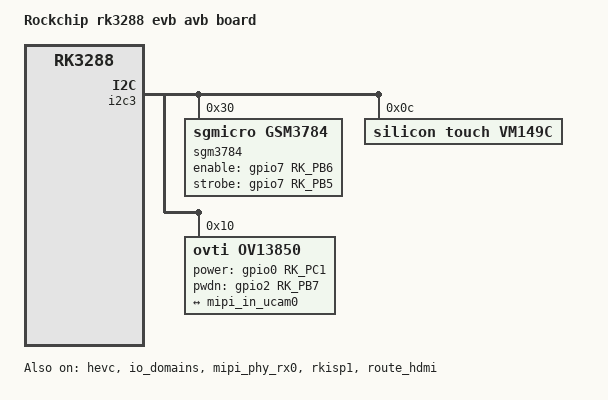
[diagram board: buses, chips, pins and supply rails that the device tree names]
/*
 * Copyright (c) 2018 Fuzhou Rockchip Electronics Co., Ltd
 *
 * SPDX-License-Identifier: (GPL-2.0+ OR MIT)
 */

/dts-v1/;
#include "rk3288-evb-android-rk808-edp.dtsi"

/ {
	model = "Rockchip rk3288 evb avb board";
	compatible = "rockchip,rk3288-evb-android-rk808-edp", "rockchip,rk3288";
	chosen: chosen {
		bootargs = "earlycon=uart8250,mmio32,0xff690000 vmalloc=496M console=ttyFIQ0 androidboot.baseband=N/A androidboot.veritymode=enforcing androidboot.hardware=rk30board androidboot.console=ttyFIQ0 init=/init kpti=0";
	};
};

&hevc {
	status = "okay";
	clock-names = "aclk_vcodec", "hclk_vcodec", "clk_core", "clk_cabac";
	rockchip,normal-rates = <300000000>, <0>, <200000000>, <200000000>;
	rockchip,advanced-rates = <600000000>, <0>, <500000000>, <500000000>;
};

&io_domains {
	status = "okay";

	dvp-supply = <&vcc_18>;
};

&isp_mmu {
	status = "okay";
};

&i2c3 {
	status = "okay";

	sgm3784: sgm3784@30 {
		#address-cells = <1>;
		#size-cells = <0>;
		compatible = "sgmicro,gsm3784";
		reg = <0x30>;
		rockchip,camera-module-index = <0>;
		rockchip,camera-module-facing = "back";
		enable-gpio = <&gpio7 RK_PB6 GPIO_ACTIVE_HIGH>;
		strobe-gpio = <&gpio7 RK_PB5 GPIO_ACTIVE_HIGH>;
		status = "okay";
		sgm3784_led0: led@0 {
			reg = <0x0>;
			led-max-microamp = <299200>;
			flash-max-microamp = <1122000>;
			flash-max-timeout-us = <1600000>;
		};

		sgm3784_led1: led@1 {
			reg = <0x1>;
			led-max-microamp = <299200>;
			flash-max-microamp = <1122000>;
			flash-max-timeout-us = <1600000>;
		};
	};

	vm149c: vm149c@0c {
		compatible = "silicon touch,vm149c";
		status = "okay";
		reg = <0x0c>;
		rockchip,camera-module-index = <0>;
		rockchip,camera-module-facing = "back";
	};

	ov13850: ov13850@10 {
		compatible = "ovti,ov13850";
		reg = <0x10>;
		clocks = <&cru SCLK_VIP_OUT>;
		clock-names = "xvclk";
		/* avdd-supply = <>; */
		/* dvdd-supply = <>; */
		/* dovdd-supply = <>; */
		/* reset-gpios = <>; */
		pinctrl-names = "rockchip,camera_default";
		pinctrl-0 = <&isp_mipi>;
		power-gpio = <&gpio0 RK_PC1 GPIO_ACTIVE_HIGH>;
		pwdn-gpios = <&gpio2 RK_PB7 GPIO_ACTIVE_HIGH>;
		rockchip,camera-module-index = <0>;
		rockchip,camera-module-facing = "back";
		rockchip,camera-module-name = "CMK-CT0116";
		rockchip,camera-module-lens-name = "Largan-50013A1";
		lens-focus = <&vm149c>;
		flash-leds = <&sgm3784_led0 &sgm3784_led1>;
		port {
			ov13850_out: endpoint {
				remote-endpoint = <&mipi_in_ucam0>;
				data-lanes = <1 2>;
			};
		};
	};
};

&mipi_phy_rx0 {
	status = "okay";

	ports {
		#address-cells = <1>;
		#size-cells = <0>;

		port@0 {
			reg = <0>;
			#address-cells = <1>;
			#size-cells = <0>;

			mipi_in_ucam0: endpoint@1 {
				reg = <1>;
				remote-endpoint = <&ov13850_out>;
				data-lanes = <1 2>;
			};
		};

		port@1 {
			reg = <1>;
			#address-cells = <1>;
			#size-cells = <0>;

			dphy_rx_out: endpoint@0 {
				reg = <0>;
				remote-endpoint = <&isp_mipi_in>;
			};
		};
	};
};

&rkisp1 {
	status = "okay";
	port {
		#address-cells = <1>;
		#size-cells = <0>;

		isp_mipi_in: endpoint@0 {
			reg = <0>;
			remote-endpoint = <&dphy_rx_out>;
		};

	};
};

&route_hdmi {
	status = "okay";
};

&vopb {
	assigned-clocks = <&cru DCLK_VOP0>;
	assigned-clock-parents = <&cru PLL_GPLL>;
};

&vopl {
	assigned-clocks = <&cru DCLK_VOP1>;
	assigned-clock-parents = <&cru PLL_CPLL>;
};
